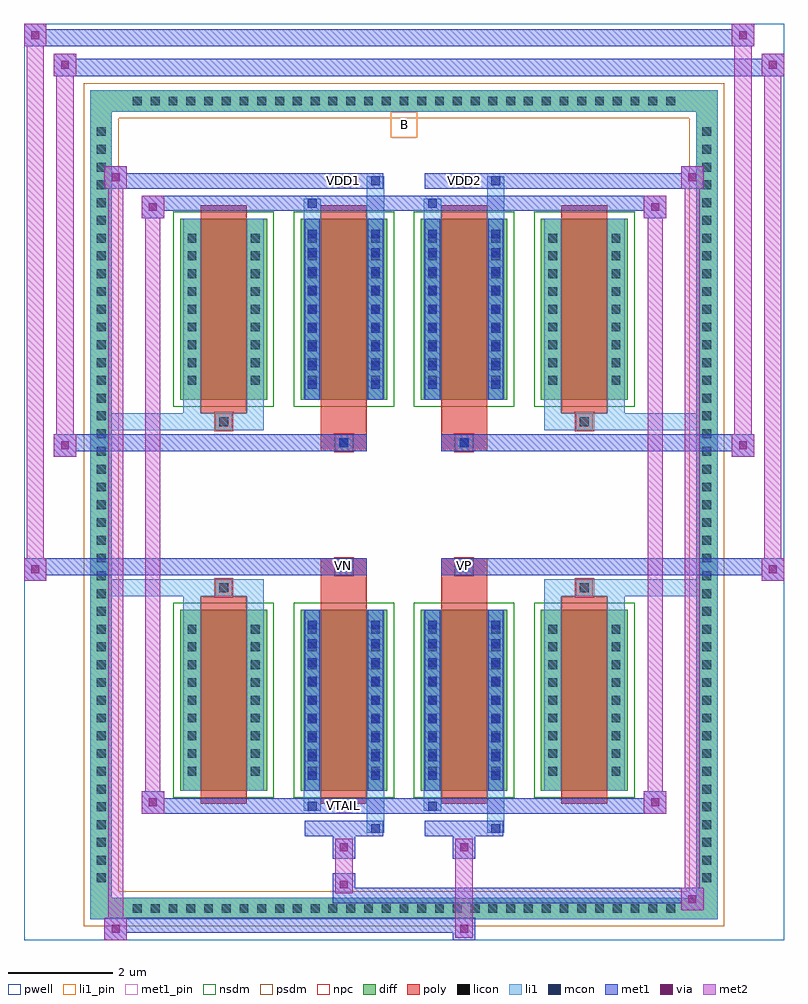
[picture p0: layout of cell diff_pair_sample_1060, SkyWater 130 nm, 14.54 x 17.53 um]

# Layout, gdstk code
import gdstk
lib = gdstk.Library(unit=1e-6, precision=5e-09)
def R(c, l, rs):  # rectangles x0, y0, x1, y1
    for r in rs: c.add(gdstk.rectangle(r[:2], r[2:], *l))
def A(c, l, x, y, w, h, nx, ny, dx, dy):  # array of equal rectangles
    R(c, l, [(x+i*dx, y+j*dy, x+i*dx+w, y+j*dy+h) for i in range(nx) for j in range(ny)])
def P(c, l, *ps):  # polygons
    for p in ps: c.add(gdstk.Polygon(p, *l))
pwell = (64, 44)
diff = (65, 20)
poly = (66, 20)
licon = (66, 44)
li1_pin = (67, 16)
li1 = (67, 20)
mcon = (67, 44)
met1_pin = (68, 16)
met1 = (68, 20)
via = (68, 44)
met2 = (69, 20)
nsdm = (93, 44)
psdm = (94, 20)
npc = (95, 20)

diff_pair_sample_1060 = lib.new_cell('diff_pair_sample_1060')
R(diff_pair_sample_1060, pwell, [(-7.27,-8.33,7.27,9.2), (-4.59,-6.52,-0.01,-0.82), (0.01,-6.52,4.59,-0.82), (-4.59,0.82,-0.01,6.52), (0.01,0.82,4.59,6.52)])
A(diff_pair_sample_1060, diff, -5.305, -7.93, 0.41, 0.41, 31, 2, 0.34, 15.45)
A(diff_pair_sample_1060, diff, -6, -7.345, 0.41, 0.41, 1, 43, 0, 0.34)
A(diff_pair_sample_1060, diff, 5.59, -7.345, 0.41, 0.41, 1, 43, 0, 0.34)
A(diff_pair_sample_1060, diff, -4.28, -5.475, 1.66, 3.47, 4, 2, 2.3, 7.48)
R(diff_pair_sample_1060, diff, [(-5.305,-7.93,5.305,-7.52), (-6,-7.345,-5.59,7.345), (5.59,-7.345,6,7.345), (-5.305,7.52,5.305,7.93)])
P(diff_pair_sample_1060, diff, [(6,7.93),(-6,7.93),(-6,-7.52),(-5.59,-7.52),(-5.59,7.52),(5.59,7.52),(5.59,-7.52),(-5.59,-7.52),(-6,-7.52),(-6,-7.93),(6,-7.93)])
A(diff_pair_sample_1060, poly, -3.89, -5.725, 0.88, 3.97, 4, 2, 2.3, 7.48)
R(diff_pair_sample_1060, poly, [(-3.615,-1.755,-3.285,-1.425), (-3.615,-1.755,-3.285,-1.425), (-1.59,-1.755,-0.71,-1.35), (0.71,-1.755,1.59,-1.35), (3.285,-1.755,3.615,-1.425), (3.285,-1.755,3.615,-1.425), (-1.59,-1.35,-0.71,-1.02), (-1.315,-1.35,-0.985,-1.02), (0.71,-1.35,1.59,-1.02), (0.985,-1.35,1.315,-1.02), (-1.59,1.02,-0.71,1.35), (-1.315,1.02,-0.985,1.35), (0.71,1.02,1.59,1.35), (0.985,1.02,1.315,1.35), (-1.59,1.35,-0.71,1.755), (0.71,1.35,1.59,1.755), (-3.615,1.425,-3.285,1.755), (-3.615,1.425,-3.285,1.755), (3.285,1.425,3.615,1.755), (3.285,1.425,3.615,1.755)])
A(diff_pair_sample_1060, licon, -5.185, -7.81, 0.17, 0.17, 31, 2, 0.34, 15.45)
A(diff_pair_sample_1060, licon, -5.88, -7.225, 0.17, 0.17, 1, 43, 0, 0.34)
A(diff_pair_sample_1060, licon, 5.71, -7.225, 0.17, 0.17, 1, 43, 0, 0.34)
A(diff_pair_sample_1060, licon, -4.14, -5.185, 0.17, 0.17, 1, 9, 0, 0.34)
A(diff_pair_sample_1060, licon, -2.93, -5.185, 0.17, 0.17, 1, 9, 0, 0.34)
A(diff_pair_sample_1060, licon, -1.84, -5.185, 0.17, 0.17, 1, 9, 0, 0.34)
A(diff_pair_sample_1060, licon, -0.63, -5.185, 0.17, 0.17, 1, 9, 0, 0.34)
A(diff_pair_sample_1060, licon, 0.46, -5.185, 0.17, 0.17, 1, 9, 0, 0.34)
A(diff_pair_sample_1060, licon, 1.67, -5.185, 0.17, 0.17, 1, 9, 0, 0.34)
A(diff_pair_sample_1060, licon, 2.76, -5.185, 0.17, 0.17, 1, 9, 0, 0.34)
A(diff_pair_sample_1060, licon, 3.97, -5.185, 0.17, 0.17, 1, 9, 0, 0.34)
A(diff_pair_sample_1060, licon, -4.14, 2.295, 0.17, 0.17, 1, 9, 0, 0.34)
A(diff_pair_sample_1060, licon, -2.93, 2.295, 0.17, 0.17, 1, 9, 0, 0.34)
A(diff_pair_sample_1060, licon, -1.84, 2.295, 0.17, 0.17, 1, 9, 0, 0.34)
A(diff_pair_sample_1060, licon, -0.63, 2.295, 0.17, 0.17, 1, 9, 0, 0.34)
A(diff_pair_sample_1060, licon, 0.46, 2.295, 0.17, 0.17, 1, 9, 0, 0.34)
A(diff_pair_sample_1060, licon, 1.67, 2.295, 0.17, 0.17, 1, 9, 0, 0.34)
A(diff_pair_sample_1060, licon, 2.76, 2.295, 0.17, 0.17, 1, 9, 0, 0.34)
A(diff_pair_sample_1060, licon, 3.97, 2.295, 0.17, 0.17, 1, 9, 0, 0.34)
R(diff_pair_sample_1060, licon, [(-3.535,-1.675,-3.365,-1.505), (3.365,-1.675,3.535,-1.505), (-1.235,-1.27,-1.065,-1.1), (1.065,-1.27,1.235,-1.1), (-1.235,1.1,-1.065,1.27), (1.065,1.1,1.235,1.27), (-3.535,1.505,-3.365,1.675), (3.365,1.505,3.535,1.675)])
R(diff_pair_sample_1060, li1_pin, [(-0.25,7.02,0.25,7.52)])
A(diff_pair_sample_1060, li1, -5.265, -7.89, 0.33, 0.33, 31, 2, 0.34, 15.45)
A(diff_pair_sample_1060, li1, -5.96, -7.305, 0.33, 0.33, 1, 43, 0, 0.34)
A(diff_pair_sample_1060, li1, 5.63, -7.305, 0.33, 0.33, 1, 43, 0, 0.34)
A(diff_pair_sample_1060, li1, -4.22, -5.265, 0.33, 0.33, 1, 9, 0, 0.34)
A(diff_pair_sample_1060, li1, -3.01, -5.265, 0.33, 0.33, 1, 9, 0, 0.34)
A(diff_pair_sample_1060, li1, -1.92, -5.265, 0.33, 0.33, 1, 9, 0, 0.34)
A(diff_pair_sample_1060, li1, -1.84, -5.265, 0.17, 0.17, 1, 9, 0, 0.36)
A(diff_pair_sample_1060, li1, -0.71, -5.265, 0.33, 0.33, 1, 9, 0, 0.34)
A(diff_pair_sample_1060, li1, -0.63, -5.265, 0.17, 0.17, 1, 9, 0, 0.36)
A(diff_pair_sample_1060, li1, 0.38, -5.265, 0.33, 0.33, 1, 9, 0, 0.34)
A(diff_pair_sample_1060, li1, 0.46, -5.265, 0.17, 0.17, 1, 9, 0, 0.36)
A(diff_pair_sample_1060, li1, 1.59, -5.265, 0.33, 0.33, 1, 9, 0, 0.34)
A(diff_pair_sample_1060, li1, 1.67, -5.265, 0.17, 0.17, 1, 9, 0, 0.36)
A(diff_pair_sample_1060, li1, 2.68, -5.265, 0.33, 0.33, 1, 9, 0, 0.34)
A(diff_pair_sample_1060, li1, 3.89, -5.265, 0.33, 0.33, 1, 9, 0, 0.34)
A(diff_pair_sample_1060, li1, -4.22, 2.215, 0.33, 0.33, 1, 9, 0, 0.34)
A(diff_pair_sample_1060, li1, -3.01, 2.215, 0.33, 0.33, 1, 9, 0, 0.34)
A(diff_pair_sample_1060, li1, -1.92, 2.215, 0.33, 0.33, 1, 9, 0, 0.34)
A(diff_pair_sample_1060, li1, -1.84, 2.215, 0.17, 0.17, 1, 9, 0, 0.36)
A(diff_pair_sample_1060, li1, -0.71, 2.215, 0.33, 0.33, 1, 9, 0, 0.34)
A(diff_pair_sample_1060, li1, -0.63, 2.215, 0.17, 0.17, 1, 9, 0, 0.36)
A(diff_pair_sample_1060, li1, 0.38, 2.215, 0.33, 0.33, 1, 9, 0, 0.34)
A(diff_pair_sample_1060, li1, 0.46, 2.215, 0.17, 0.17, 1, 9, 0, 0.36)
A(diff_pair_sample_1060, li1, 1.59, 2.215, 0.33, 0.33, 1, 9, 0, 0.34)
A(diff_pair_sample_1060, li1, 1.67, 2.215, 0.17, 0.17, 1, 9, 0, 0.36)
A(diff_pair_sample_1060, li1, 2.68, 2.215, 0.33, 0.33, 1, 9, 0, 0.34)
A(diff_pair_sample_1060, li1, 3.89, 2.215, 0.33, 0.33, 1, 9, 0, 0.34)
R(diff_pair_sample_1060, li1, [(-6,-7.93,-5.59,-7.52), (-6,-7.93,-5.59,-7.52), (-5.59,-7.93,5.59,-7.52), (5.59,-7.93,6,-7.52), (5.59,-7.93,6,-7.52), (-6,-7.52,-5.59,7.52), (5.59,-7.52,6,7.52), (-0.71,-6.28,-0.38,-5.475), (-0.63,-6.28,-0.46,-6.11), (1.59,-6.28,1.92,-5.475), (1.67,-6.28,1.84,-6.11), (-1.92,-5.85,-1.59,-5.475), (-1.84,-5.85,-1.67,-5.68), (0.38,-5.85,0.71,-5.475), (0.46,-5.85,0.63,-5.68), (-4.22,-5.475,-3.89,-2.005), (-3.01,-5.475,-2.68,-2.005), (-1.92,-5.475,-1.59,-2.005), (-0.71,-5.475,-0.38,-2.005), (0.38,-5.475,0.71,-2.005), (1.59,-5.475,1.92,-2.005), (2.68,-5.475,3.01,-2.005), (3.89,-5.475,4.22,-2.005), (-1.84,-5.265,-1.67,-2.215), (-0.63,-5.265,-0.46,-2.215), (0.46,-5.265,0.63,-2.215), (1.67,-5.265,1.84,-2.215), (-4.22,-2.005,-3.89,-1.425), (-3.01,-2.005,-2.68,-1.425), (2.68,-2.005,3.01,-1.425), (3.89,-2.005,4.22,-1.425), (-6,-1.755,-3.615,-1.425), (-4.22,-1.755,-3.615,-1.425), (-3.615,-1.755,-3.285,-1.425), (-3.285,-1.755,-2.68,-1.425), (2.68,-1.755,3.285,-1.425), (3.285,-1.755,3.615,-1.425), (3.285,-1.755,6,-1.425), (3.615,-1.755,4.22,-1.425), (-1.315,-1.35,-0.985,-1.02), (0.985,-1.35,1.315,-1.02), (-1.315,1.02,-0.985,1.35), (0.985,1.02,1.315,1.35), (-6,1.425,-3.615,1.755), (-4.22,1.425,-3.615,1.755), (-4.22,1.425,-3.89,2.005), (-3.615,1.425,-3.285,1.755), (-3.285,1.425,-2.68,1.755), (-3.01,1.425,-2.68,2.005), (2.68,1.425,3.285,1.755), (2.68,1.425,3.01,2.005), (3.285,1.425,3.615,1.755), (3.285,1.425,6,1.755), (3.615,1.425,4.22,1.755), (3.89,1.425,4.22,2.005), (-4.22,2.005,-3.89,5.475), (-3.01,2.005,-2.68,5.475), (-1.92,2.005,-1.59,5.475), (-0.71,2.005,-0.38,5.475), (0.38,2.005,0.71,5.475), (1.59,2.005,1.92,5.475), (2.68,2.005,3.01,5.475), (3.89,2.005,4.22,5.475), (-1.84,2.215,-1.67,5.265), (-0.63,2.215,-0.46,5.265), (0.46,2.215,0.63,5.265), (1.67,2.215,1.84,5.265), (-1.92,5.475,-1.59,5.85), (-0.71,5.475,-0.38,6.28), (0.38,5.475,0.71,5.85), (1.59,5.475,1.92,6.28), (-1.84,5.68,-1.67,5.85), (0.46,5.68,0.63,5.85), (-0.63,6.11,-0.46,6.28), (1.67,6.11,1.84,6.28), (-6,7.52,-5.59,7.93), (-6,7.52,-5.59,7.93), (-5.59,7.52,5.59,7.93), (5.59,7.52,6,7.93), (5.59,7.52,6,7.93)])
A(diff_pair_sample_1060, mcon, -1.84, -5.265, 0.17, 0.17, 1, 9, 0, 0.36)
A(diff_pair_sample_1060, mcon, -0.63, -5.265, 0.17, 0.17, 1, 9, 0, 0.36)
A(diff_pair_sample_1060, mcon, 0.46, -5.265, 0.17, 0.17, 1, 9, 0, 0.36)
A(diff_pair_sample_1060, mcon, 1.67, -5.265, 0.17, 0.17, 1, 9, 0, 0.36)
A(diff_pair_sample_1060, mcon, -1.84, 2.215, 0.17, 0.17, 1, 9, 0, 0.36)
A(diff_pair_sample_1060, mcon, -0.63, 2.215, 0.17, 0.17, 1, 9, 0, 0.36)
A(diff_pair_sample_1060, mcon, 0.46, 2.215, 0.17, 0.17, 1, 9, 0, 0.36)
A(diff_pair_sample_1060, mcon, 1.67, 2.215, 0.17, 0.17, 1, 9, 0, 0.36)
R(diff_pair_sample_1060, mcon, [(-0.63,-6.28,-0.46,-6.11), (1.67,-6.28,1.84,-6.11), (-1.84,-5.85,-1.67,-5.68), (0.46,-5.85,0.63,-5.68), (-1.235,-1.27,-1.065,-1.1), (1.065,-1.27,1.235,-1.1), (-1.235,1.1,-1.065,1.27), (1.065,1.1,1.235,1.27), (-1.84,5.68,-1.67,5.85), (0.46,5.68,0.63,5.85), (-0.63,6.11,-0.46,6.28), (1.67,6.11,1.84,6.28)])
R(diff_pair_sample_1060, met1_pin, [(-1.285,-5.89,-1.015,-5.62), (-1.285,-1.29,-1.015,-1.02), (1.015,-1.29,1.285,-1.02), (-1.285,6.07,-1.015,6.34), (1.015,6.07,1.285,6.34)])
A(diff_pair_sample_1060, met1, -1.9, -5.325, 0.29, 0.29, 1, 9, 0, 0.36)
A(diff_pair_sample_1060, met1, -0.69, -5.325, 0.29, 0.29, 1, 9, 0, 0.36)
A(diff_pair_sample_1060, met1, 0.4, -5.325, 0.29, 0.29, 1, 9, 0, 0.36)
A(diff_pair_sample_1060, met1, 1.61, -5.325, 0.29, 0.29, 1, 9, 0, 0.36)
A(diff_pair_sample_1060, met1, -1.9, 2.155, 0.29, 0.29, 1, 9, 0, 0.36)
A(diff_pair_sample_1060, met1, -0.69, 2.155, 0.29, 0.29, 1, 9, 0, 0.36)
A(diff_pair_sample_1060, met1, 0.4, 2.155, 0.29, 0.29, 1, 9, 0, 0.36)
A(diff_pair_sample_1060, met1, 1.61, 2.155, 0.29, 0.29, 1, 9, 0, 0.36)
R(diff_pair_sample_1060, met1, [(-5.73,-8.33,-5.3,-7.9), (0.935,-8.33,1.365,-7.9), (-5.73,-8.19,1.365,-7.9), (5.3,-7.76,5.73,-7.33), (-1.365,-7.62,5.73,-7.33), (-1.365,-7.48,-0.935,-7.05), (-1.365,-6.77,-0.935,-6.34), (0.935,-6.77,1.365,-6.34), (-1.9,-6.34,-0.4,-6.05), (-0.69,-6.34,-0.4,-6.05), (0.4,-6.34,1.9,-6.05), (1.61,-6.34,1.9,-6.05), (-5.02,-5.91,-4.59,-5.48), (-5.02,-5.91,-1.9,-5.62), (-1.9,-5.91,-1.61,-5.62), (-1.9,-5.91,-0.4,-5.62), (-0.4,-5.91,0.4,-5.62), (0.4,-5.91,0.69,-5.62), (0.4,-5.91,1.9,-5.62), (1.9,-5.91,5.02,-5.62), (4.59,-5.91,5.02,-5.48), (-1.9,-5.475,-1.61,-2.005), (-0.69,-5.475,-0.4,-2.005), (0.4,-5.475,0.69,-2.005), (1.61,-5.475,1.9,-2.005), (-7.27,-1.45,-6.84,-1.02), (6.84,-1.45,7.27,-1.02), (-7.27,-1.35,-0.71,-1.02), (-1.59,-1.35,-0.71,-1.02), (0.71,-1.35,1.59,-1.02), (0.71,-1.35,7.27,-1.02), (-1.295,-1.33,-1.005,-1.04), (1.005,-1.33,1.295,-1.04), (-6.7,0.92,-6.27,1.35), (6.27,0.92,6.7,1.35), (-6.7,1.02,-1.59,1.35), (-1.59,1.02,-0.71,1.35), (0.71,1.02,1.59,1.35), (1.59,1.02,6.7,1.35), (-1.295,1.04,-1.005,1.33), (1.005,1.04,1.295,1.33), (-1.9,2.005,-1.61,5.475), (-0.69,2.005,-0.4,5.475), (0.4,2.005,0.69,5.475), (1.61,2.005,1.9,5.475), (-5.02,5.48,-4.59,5.91), (4.59,5.48,5.02,5.91), (-5.02,5.62,-1.9,5.91), (-1.9,5.62,-1.61,5.91), (-1.9,5.62,-0.4,5.91), (-0.4,5.62,0.4,5.91), (0.4,5.62,0.69,5.91), (0.4,5.62,1.9,5.91), (1.9,5.62,5.02,5.91), (-5.73,6.05,-5.3,6.48), (-5.73,6.05,-1.9,6.34), (-1.9,6.05,-0.4,6.34), (-0.69,6.05,-0.4,6.34), (0.4,6.05,1.9,6.34), (1.61,6.05,1.9,6.34), (1.9,6.05,5.73,6.34), (5.3,6.05,5.73,6.48), (-6.7,8.2,-6.27,8.63), (-6.7,8.2,-4.59,8.53), (-4.59,8.2,4.59,8.53), (4.59,8.2,7.27,8.53), (6.84,8.2,7.27,8.63), (-7.27,8.77,-6.84,9.2), (-7.27,8.77,-4.59,9.1), (-4.59,8.77,4.59,9.1), (4.59,8.77,6.7,9.1), (6.27,8.77,6.7,9.2)])
R(diff_pair_sample_1060, via, [(-5.59,-8.19,-5.44,-8.04), (1.075,-8.19,1.225,-8.04), (5.44,-7.62,5.59,-7.47), (-1.225,-7.34,-1.075,-7.19), (-1.225,-6.63,-1.075,-6.48), (1.075,-6.63,1.225,-6.48), (-4.88,-5.77,-4.73,-5.62), (4.73,-5.77,4.88,-5.62), (-7.13,-1.31,-6.98,-1.16), (6.98,-1.31,7.13,-1.16), (-6.56,1.06,-6.41,1.21), (6.41,1.06,6.56,1.21), (-4.88,5.62,-4.73,5.77), (4.73,5.62,4.88,5.77), (-5.59,6.19,-5.44,6.34), (5.44,6.19,5.59,6.34), (-6.56,8.34,-6.41,8.49), (6.98,8.34,7.13,8.49), (-7.13,8.91,-6.98,9.06), (6.41,8.91,6.56,9.06)])
R(diff_pair_sample_1060, met2, [(-5.73,-8.33,-5.3,-7.9), (-5.66,-8.33,-5.37,6.48), (-5.37,-8.33,-5.3,-7.9), (-5.68,-8.28,-5.35,-7.95), (0.985,-8.28,1.315,-7.95), (0.985,-7.95,1.315,-6.72), (5.3,-7.76,5.73,-7.33), (5.37,-7.76,5.66,6.48), (5.66,-7.76,5.73,-7.33), (5.35,-7.71,5.68,-7.38), (-1.315,-7.43,-0.985,-7.1), (-1.315,-7.1,-0.985,-6.72), (-1.315,-6.72,-0.985,-6.39), (0.985,-6.72,1.315,-6.39), (-5.02,-5.91,-4.59,-5.48), (-4.95,-5.91,-4.66,5.91), (-4.66,-5.91,-4.59,-5.48), (4.59,-5.91,5.02,-5.48), (4.66,-5.91,4.95,5.91), (4.95,-5.91,5.02,-5.48), (-4.97,-5.86,-4.64,-5.53), (4.64,-5.86,4.97,-5.53), (-7.27,-1.45,-6.84,-1.02), (-7.22,-1.45,-6.89,9.2), (-6.89,-1.45,-6.84,-1.02), (6.84,-1.45,7.27,-1.02), (6.89,-1.45,7.22,8.63), (7.22,-1.45,7.27,-1.02), (-7.22,-1.4,-6.89,-1.07), (6.89,-1.4,7.22,-1.07), (-6.7,0.92,-6.27,1.35), (-6.65,0.92,-6.32,8.63), (-6.32,0.92,-6.27,1.35), (6.27,0.92,6.7,1.35), (6.32,0.92,6.65,9.2), (6.65,0.92,6.7,1.35), (-6.65,0.97,-6.32,1.3), (6.32,0.97,6.65,1.3), (-5.02,5.48,-4.59,5.91), (-4.66,5.48,-4.59,5.91), (4.59,5.48,5.02,5.91), (4.95,5.48,5.02,5.91), (-4.97,5.53,-4.64,5.86), (4.64,5.53,4.97,5.86), (-5.73,6.05,-5.3,6.48), (-5.37,6.05,-5.3,6.48), (5.3,6.05,5.73,6.48), (5.66,6.05,5.73,6.48), (-5.68,6.1,-5.35,6.43), (5.35,6.1,5.68,6.43), (-6.7,8.2,-6.27,8.63), (-6.32,8.2,-6.27,8.63), (6.84,8.2,7.27,8.63), (7.22,8.2,7.27,8.63), (-6.65,8.25,-6.32,8.58), (6.89,8.25,7.22,8.58), (-7.27,8.77,-6.84,9.2), (-6.89,8.77,-6.84,9.2), (6.27,8.77,6.7,9.2), (6.65,8.77,6.7,9.2), (-7.22,8.82,-6.89,9.15), (6.32,8.82,6.65,9.15)])
A(diff_pair_sample_1060, nsdm, -4.41, -5.605, 1.92, 3.73, 4, 2, 2.3, 7.48)
P(diff_pair_sample_1060, psdm, [(6.13,8.06),(-6.13,8.06),(-6.13,-7.39),(-5.46,-7.39),(-5.46,7.39),(5.46,7.39),(5.46,-7.39),(-5.46,-7.39),(-6.13,-7.39),(-6.13,-8.06),(6.13,-8.06)])
R(diff_pair_sample_1060, npc, [(-3.635,-1.775,-3.265,-1.405), (3.265,-1.775,3.635,-1.405), (-1.335,-1.37,-0.965,-1), (0.965,-1.37,1.335,-1), (-1.335,1,-0.965,1.37), (0.965,1,1.335,1.37), (-3.635,1.405,-3.265,1.775), (3.265,1.405,3.635,1.775)])
diff_pair_sample_1060.add(gdstk.Label('VTAIL', (-1.15,-5.755), layer=68, texttype=5))
diff_pair_sample_1060.add(gdstk.Label('VN', (-1.15,-1.155), layer=68, texttype=5))
diff_pair_sample_1060.add(gdstk.Label('VP', (1.15,-1.155), layer=68, texttype=5))
diff_pair_sample_1060.add(gdstk.Label('B', (0,7.27), layer=67, texttype=5))
diff_pair_sample_1060.add(gdstk.Label('VDD2', (1.15,6.205), layer=68, texttype=5))
diff_pair_sample_1060.add(gdstk.Label('VDD1', (-1.15,6.205), layer=68, texttype=5))

lib.write_gds('diff_pair_sample_1060.gds')
